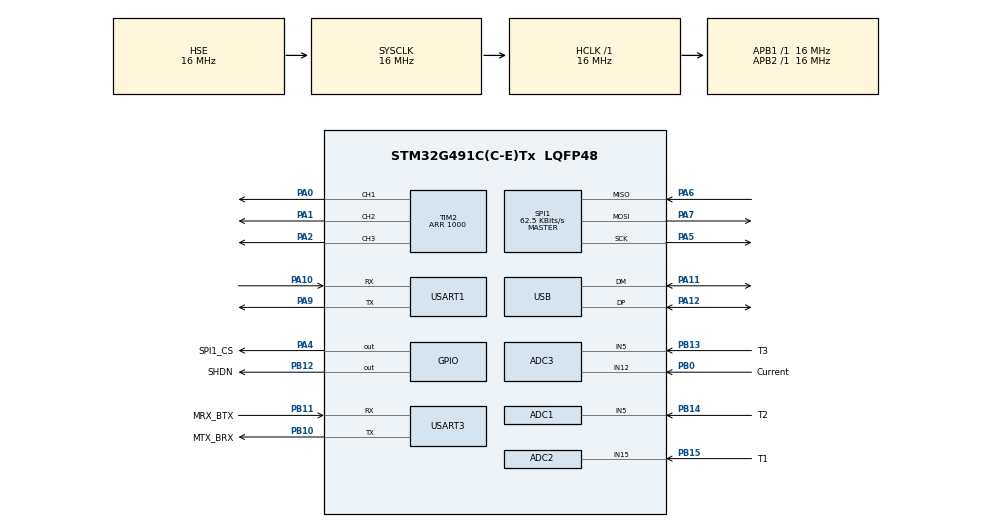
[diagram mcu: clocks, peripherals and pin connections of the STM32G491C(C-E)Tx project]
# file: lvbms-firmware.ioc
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ADC1.Channel-0\#ChannelRegularConversion=ADC_CHANNEL_5
ADC1.NbrOfConversionFlag=1
ADC1.OffsetNumber-0\#ChannelRegularConversion=ADC_OFFSET_NONE
ADC1.OversamplingMode=ENABLE
ADC1.Rank-0\#ChannelRegularConversion=1
ADC1.Ratio=ADC_OVERSAMPLING_RATIO_16
ADC1.RightBitShift=ADC_RIGHTBITSHIFT_4
ADC1.SamplingTime-0\#ChannelRegularConversion=ADC_SAMPLETIME_2CYCLES_5
ADC1.master=1
ADC2.Channel-0\#ChannelRegularConversion=ADC_CHANNEL_15
ADC2.NbrOfConversionFlag=1
ADC2.OffsetNumber-0\#ChannelRegularConversion=ADC_OFFSET_NONE
ADC2.OversamplingMode=ENABLE
ADC2.Rank-0\#ChannelRegularConversion=1
ADC2.Ratio=ADC_OVERSAMPLING_RATIO_16
ADC2.RightBitShift=ADC_RIGHTBITSHIFT_4
ADC2.SamplingTime-0\#ChannelRegularConversion=ADC_SAMPLETIME_2CYCLES_5
ADC3.Channel-0\#ChannelRegularConversion=ADC_CHANNEL_12
ADC3.Channel-3\#ChannelRegularConversion=ADC_CHANNEL_5
ADC3.DataAlign=ADC_DATAALIGN_RIGHT
ADC3.NbrOfConversion=2
ADC3.NbrOfConversionFlag=1
ADC3.OffsetNumber-3\#ChannelRegularConversion=ADC_OFFSET_NONE
ADC3.Overrun=ADC_OVR_DATA_PRESERVED
ADC3.OversamplingMode=ENABLE
ADC3.Rank-3\#ChannelRegularConversion=2
ADC3.Ratio=ADC_OVERSAMPLING_RATIO_16
ADC3.RightBitShift=ADC_RIGHTBITSHIFT_4
ADC3.SamplingTime-0\#ChannelRegularConversion=ADC_SAMPLETIME_47CYCLES_5
ADC3.SamplingTime-3\#ChannelRegularConversion=ADC_SAMPLETIME_47CYCLES_5
ADC3.master=1
FREERTOS.Tasks01=defaultTask,24,128,StartDefaultTask,Default,NULL,Dynamic,NULL,NULL
FREERTOS.configTOTAL_HEAP_SIZE=32768
Mcu.Family=STM32G4
Mcu.Name=STM32G491C(C-E)Tx
Mcu.Package=LQFP48
NVIC.PriorityGroup=NVIC_PRIORITYGROUP_4
NVIC.TIM20_UP_IRQn=true\:15\:0\:false\:false\:true\:false\:false\:true\:true
NVIC.TimeBase=TIM20_UP_IRQn
NVIC.TimeBaseIP=TIM20
NVIC.USB_LP_IRQn=true\:5\:0\:false\:false\:true\:true\:false\:true\:true
PA0.Signal=S_TIM2_CH1
PA1.Signal=S_TIM2_CH2
PA10.Mode=Asynchronous
PA10.Signal=USART1_RX
PA11.Mode=Device
PA11.Signal=USB_DM
PA12.Mode=Device
PA12.Signal=USB_DP
PA13.Mode=Trace_Asynchronous_SW
PA13.Signal=SYS_JTMS-SWDIO
PA14.Mode=Trace_Asynchronous_SW
PA14.Signal=SYS_JTCK-SWCLK
PA2.Signal=S_TIM2_CH3
PA4.GPIO_Label=SPI1_CS
PA4.PinState=GPIO_PIN_SET
PA4.Signal=GPIO_Output
PA5.Mode=Full_Duplex_Master
PA5.Signal=SPI1_SCK
PA6.Mode=Full_Duplex_Master
PA6.Signal=SPI1_MISO
PA7.Mode=Full_Duplex_Master
PA7.Signal=SPI1_MOSI
PA9.Mode=Asynchronous
PA9.Signal=USART1_TX
PB0.GPIO_Label=Current
PB0.GPIO_Pd=GPIO_NOPULL
PB0.Signal=SharedAnalog_PB0
PB10.GPIO_Label=MTX_BRX
PB10.Mode=Asynchronous
PB10.Signal=USART3_TX
PB11.GPIO_Label=MRX_BTX
PB11.Mode=Asynchronous
PB11.Signal=USART3_RX
PB12.GPIO_Label=SHDN
PB12.Signal=GPIO_Output
PB13.GPIO_Label=T3
PB13.GPIO_Mode=GPIO_MODE_ANALOG
PB13.GPIO_Pd=GPIO_NOPULL
PB13.Signal=SharedAnalog_PB13
PB14.GPIO_Label=T2
PB14.Signal=SharedAnalog_PB14
PB15.GPIO_Label=T1
PB15.Signal=SharedAnalog_PB15
PB3.Mode=Trace_Asynchronous_SW
PB3.Signal=SYS_JTDO-SWO
PF0-OSC_IN.Mode=HSE-External-Oscillator
PF0-OSC_IN.Signal=RCC_OSC_IN
PF1-OSC_OUT.Mode=HSE-External-Oscillator
PF1-OSC_OUT.Signal=RCC_OSC_OUT
ProjectManager.HeapSize=0x200
ProjectManager.StackSize=0x400
ProjectManager.TargetToolchain=Makefile
RCC.ADC12Freq_Value=16000000
RCC.ADC345Freq_Value=16000000
RCC.AHBFreq_Value=16000000
RCC.APB1Freq_Value=16000000
RCC.APB1TimFreq_Value=16000000
RCC.APB2Freq_Value=16000000
RCC.APB2TimFreq_Value=16000000
RCC.CK48CLockSelection=RCC_USBCLKSOURCE_PLL
RCC.CortexFreq_Value=16000000
RCC.EXTERNAL_CLOCK_VALUE=12288000
RCC.HCLKFreq_Value=16000000
RCC.HSE_VALUE=16000000
RCC.HSI48_VALUE=48000000
RCC.HSI_VALUE=16000000
RCC.LSE_VALUE=32768
RCC.PLLN=12
RCC.PLLQ=RCC_PLLQ_DIV4
RCC.PLLR=RCC_PLLR_DIV4
RCC.PLLSourceVirtual=RCC_PLLSOURCE_HSE
RCC.SYSCLKFreq_VALUE=16000000
RCC.SYSCLKSource=RCC_SYSCLKSOURCE_HSE
RCC.USBFreq_Value=48000000
RCC.VCOOutputFreq_Value=192000000
SH.S_TIM2_CH1.0=TIM2_CH1,PWM Generation1 CH1
SH.S_TIM2_CH2.0=TIM2_CH2,PWM Generation2 CH2
SH.S_TIM2_CH3.0=TIM2_CH3,PWM Generation3 CH3
SH.SharedAnalog_PB0.0=GPIO_Analog
SH.SharedAnalog_PB0.1=ADC3_IN12,IN12-Single-Ended
SH.SharedAnalog_PB13.0=GPIO_Analog
SH.SharedAnalog_PB13.1=ADC3_IN5,IN5-Single-Ended
SH.SharedAnalog_PB14.0=GPIO_Analog
SH.SharedAnalog_PB14.1=ADC1_IN5,IN5-Single-Ended
SH.SharedAnalog_PB15.0=GPIO_Analog
SH.SharedAnalog_PB15.1=ADC2_IN15,IN15-Single-Ended
SPI1.BaudRatePrescaler=SPI_BAUDRATEPRESCALER_256
SPI1.CLKPhase=SPI_PHASE_2EDGE
SPI1.CLKPolarity=SPI_POLARITY_HIGH
SPI1.CalculateBaudRate=62.5 KBits/s
SPI1.DataSize=SPI_DATASIZE_8BIT
SPI1.Direction=SPI_DIRECTION_2LINES
SPI1.Mode=SPI_MODE_MASTER
SPI1.VirtualType=VM_MASTER
TIM2.Channel-PWM\ Generation1\ CH1=TIM_CHANNEL_1
TIM2.Channel-PWM\ Generation2\ CH2=TIM_CHANNEL_2
TIM2.Channel-PWM\ Generation3\ CH3=TIM_CHANNEL_3
TIM2.OCFastMode_PWM-PWM\ Generation1\ CH1=TIM_OCFAST_ENABLE
TIM2.OCFastMode_PWM-PWM\ Generation2\ CH2=TIM_OCFAST_ENABLE
TIM2.OCFastMode_PWM-PWM\ Generation3\ CH3=TIM_OCFAST_ENABLE
TIM2.OCPolarity_1=TIM_OCPOLARITY_LOW
TIM2.OCPolarity_2=TIM_OCPOLARITY_LOW
TIM2.OCPolarity_3=TIM_OCPOLARITY_LOW
TIM2.PeriodNoDither=1000
USART1.VirtualMode-Asynchronous=VM_ASYNC
USART3.VirtualMode-Asynchronous=VM_ASYNC
USB_DEVICE.CLASS_NAME_FS=CDC
USB_DEVICE.VirtualMode=Cdc
USB_DEVICE.VirtualModeFS=Cdc_FS
VP_FREERTOS_VS_CMSIS_V2.Mode=CMSIS_V2
VP_SYS_VS_DBSignals.Mode=DisableDeadBatterySignals
VP_SYS_VS_tim20.Mode=TIM20
VP_USB_DEVICE_VS_USB_DEVICE_CDC_FS.Mode=CDC_FS
board=custom

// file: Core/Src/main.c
/* USER CODE BEGIN Header */
/**
 ******************************************************************************
 * @file           : main.c
 * @brief          : Main program body
 ******************************************************************************
 * @attention
 *
 * Copyright (c) 2025 STMicroelectronics.
 * All rights reserved.
 *
 * This software is licensed under terms that can be found in the LICENSE file
 * in the root directory of this software component.
 * If no LICENSE file comes with this software, it is provided AS-IS.
 *
 ******************************************************************************
 */
/* USER CODE END Header */
#include "main.h"
#include "cmsis_os.h"
#include "adc.h"
#include "spi.h"
#include "tim.h"
#include "usart.h"
#include "usb_device.h"
#include "gpio.h"

/* USER CODE BEGIN Includes */
#include "usbd_cdc_if.h"
#include <string.h>
/* USER CODE END Includes */

void SystemClock_Config(void);
void MX_FREERTOS_Init(void);

/* USER CODE BEGIN 0 */
int __io_putchar(int ch) {
  uint8_t c = (uint8_t) ch;
  CDC_Transmit_FS(&c, 1);
  osDelay(1); // Small delay to ensure data is sent before next character
  return ch;
}
/* USER CODE END 0 */

int main(void)
{

  /* MCU Configuration--------------------------------------------------------*/

  /* Reset of all peripherals, Initializes the Flash interface and the Systick. */
  HAL_Init();

  /* Configure the system clock */
  SystemClock_Config();

  /* Initialize all configured peripherals */
  MX_GPIO_Init();
  MX_TIM2_Init();
  MX_USART3_UART_Init();
  MX_USART1_UART_Init();
  MX_ADC3_Init();
  MX_SPI1_Init();
  MX_ADC1_Init();
  MX_ADC2_Init();

  /* Init scheduler */
  osKernelInitialize();  /* Call init function for freertos objects (in cmsis_os2.c) */
  MX_FREERTOS_Init();

  /* Start scheduler */
  osKernelStart();

  /* We should never get here as control is now taken by the scheduler */

  /* Infinite loop */
    while (1) {

    }
}

void SystemClock_Config(void)
{
  RCC_OscInitTypeDef RCC_OscInitStruct = {0};
  RCC_ClkInitTypeDef RCC_ClkInitStruct = {0};

  /** Configure the main internal regulator output voltage
  */
  HAL_PWREx_ControlVoltageScaling(PWR_REGULATOR_VOLTAGE_SCALE1);

  /** Initializes the RCC Oscillators according to the specified parameters
  * in the RCC_OscInitTypeDef structure.
  */
  RCC_OscInitStruct.OscillatorType = RCC_OSCILLATORTYPE_HSE;
  RCC_OscInitStruct.HSEState = RCC_HSE_ON;
  RCC_OscInitStruct.PLL.PLLState = RCC_PLL_ON;
  RCC_OscInitStruct.PLL.PLLSource = RCC_PLLSOURCE_HSE;
  RCC_OscInitStruct.PLL.PLLM = RCC_PLLM_DIV1;
  RCC_OscInitStruct.PLL.PLLN = 12;
  RCC_OscInitStruct.PLL.PLLP = RCC_PLLP_DIV2;
  RCC_OscInitStruct.PLL.PLLQ = RCC_PLLQ_DIV4;
  RCC_OscInitStruct.PLL.PLLR = RCC_PLLR_DIV4;
  if (HAL_RCC_OscConfig(&RCC_OscInitStruct) != HAL_OK)
  {
    Error_Handler();
  }

  /** Initializes the CPU, AHB and APB buses clocks
  */
  RCC_ClkInitStruct.ClockType = RCC_CLOCKTYPE_HCLK|RCC_CLOCKTYPE_SYSCLK
                              |RCC_CLOCKTYPE_PCLK1|RCC_CLOCKTYPE_PCLK2;
  RCC_ClkInitStruct.SYSCLKSource = RCC_SYSCLKSOURCE_HSE;
  RCC_ClkInitStruct.AHBCLKDivider = RCC_SYSCLK_DIV1;
  RCC_ClkInitStruct.APB1CLKDivider = RCC_HCLK_DIV1;
  RCC_ClkInitStruct.APB2CLKDivider = RCC_HCLK_DIV1;

  if (HAL_RCC_ClockConfig(&RCC_ClkInitStruct, FLASH_LATENCY_0) != HAL_OK)
  {
    Error_Handler();
  }
}

void HAL_TIM_PeriodElapsedCallback(TIM_HandleTypeDef *htim)
{
  if (htim->Instance == TIM20)
  {
    HAL_IncTick();
  }
}

void Error_Handler(void)
{
  /* USER CODE BEGIN Error_Handler_Debug */
    /* User can add his own implementation to report the HAL error return state
     */
    __disable_irq();
    while (1) {
        // HAL_TIM_PWM_DeInit(&htim2);
        // HAL_GPIO_TogglePin(GPIOA, GPIO_PIN_0);
    }
  /* USER CODE END Error_Handler_Debug */
}
#ifdef USE_FULL_ASSERT
/**
  * @brief  Reports the name of the source file and the source line number
  *         where the assert_param error has occurred.
  * @param  file: pointer to the source file name
  * @param  line: assert_param error line source number
  * @retval None
  */
void assert_failed(uint8_t *file, uint32_t line)
{
  /* USER CODE BEGIN 6 */
    /* User can add his own implementation to report the file name and line
       number, ex: printf("Wrong parameters value: file %s on line %d\r\n",
       file, line) */
  /* USER CODE END 6 */
}
#endif /* USE_FULL_ASSERT */

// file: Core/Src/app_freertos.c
/* USER CODE BEGIN Header */
/**
 ******************************************************************************
 * File Name          : app_freertos.c
 * Description        : Code for freertos applications
 ******************************************************************************
 * @attention
 *
 * Copyright (c) 2025 STMicroelectronics.
 * All rights reserved.
 *
 * This software is licensed under terms that can be found in the LICENSE file
 * in the root directory of this software component.
 * If no LICENSE file comes with this software, it is provided AS-IS.
 *
 ******************************************************************************
 */
/* USER CODE END Header */

#include "FreeRTOS.h"
#include "task.h"
#include "main.h"
#include "cmsis_os.h"

#include "usb_device.h"

/* USER CODE BEGIN Includes */
#include "longhorn/rtos/led.h"
#include "longhorn/rtos/logger.h"
#include "longhorn/rtos/usb.h"
#include "longhorn/usb_base.h"
#include "longhorn/rtos/dfu.h"
#include "tim.h"
#include "usbd_cdc_if.h"
#include "usart.h"
#include "adc.h"
#include "spi.h"
#include "gpio.h"
#include "adBms6830Data.h"
#include "adBms6830GenericType.h"
#include "adBms6830ParseCreate.h"
#include "adBms_Application.h"
#include "serialPrintResult.h"
#include "lvbms_bluetooth.h"
#include "lvbms_temperature_current.h"
#include "lvbms_fsm.h"
/* USER CODE END Includes */

/* USER CODE BEGIN PD */
#define TOTAL_IC 1
/* USER CODE END PD */

/* USER CODE BEGIN Variables */
static cell_asic IC[TOTAL_IC];

osThreadId_t fsmTaskHandle;
const osThreadAttr_t fsmTask_attributes = {
  .name = "fsmTask",
  .priority = (osPriority_t) osPriorityHigh,
  .stack_size = 1024 * 4
};
/* USER CODE END Variables */
/* Definitions for defaultTask */
osThreadId_t defaultTaskHandle;
const osThreadAttr_t defaultTask_attributes = {
  .name = "defaultTask",
  .priority = (osPriority_t) osPriorityNormal,
  .stack_size = 1024 * 4
};

/* USER CODE BEGIN FunctionPrototypes */
void StartFSMTask(void *argument);
/* USER CODE END FunctionPrototypes */

void StartDefaultTask(void *argument);

void MX_FREERTOS_Init(void); /* (MISRA C 2004 rule 8.1) */

void MX_FREERTOS_Init(void) {

  /* Create the thread(s) */
  /* creation of defaultTask */
  defaultTaskHandle = osThreadNew(StartDefaultTask, NULL, &defaultTask_attributes);

  /* USER CODE BEGIN RTOS_THREADS */
    /* add threads, ... */
    fsmTaskHandle = osThreadNew(StartFSMTask, NULL, &fsmTask_attributes);

    rainbow_led_t led = {
        .ccr1 = &TIM2->CCR1,
        .ccr2 = &TIM2->CCR2,
        .ccr3 = &TIM2->CCR3,
        .channel1 = TIM_CHANNEL_1,
        .channel2 = TIM_CHANNEL_2,
        .channel3 = TIM_CHANNEL_3,
        .pwm_start = (HAL_PWM_Start_Fn)HAL_TIM_PWM_Start,
        .timer_handle = &htim2,
    };

    led_init(&led);
    led_start_thread();
  /* USER CODE END RTOS_THREADS */

}

void StartDefaultTask(void *argument)
{
  /* init code for USB_Device */
  MX_USB_Device_Init();
  /* USER CODE BEGIN StartDefaultTask */

  if (init_logging(CDC_Transmit_FS) == -1) {
    // If USB logging fails, stop LED thread so we notice
    // osThreadTerminate(ledHandle);
  }

  RN4781_Init(&huart3);
  char buf[200];

  const char *state_names[] = {
        "INIT",
        "IDLE",
        "MEASURING",
        "BALANCING",
        "FAULT",
        "SHUTDOWN"
    };

    const char *fault_names[] = {
        "NONE",
        "OV",
        "UV",
        "",
        "OT",
        "",
        "",
        "",
        "OC"
    };

  /* Infinite loop */

  for (;;) {
    snprintf(buf, sizeof(buf),
            "State: %s Faults: 0x%02lX\r\n"
            "C1:%.2f C2:%.2f C3:%.2f C4:%.2f\r\n"
            "C5:%.2f C6:%.2f C7:%.2f\r\n"
            "T1:%.1f T2:%.1f T3:%.1f\r\n"
            "Current:%.2f\r\n",
            state_names[bms_get_state()], bms_get_faults(),
            bms_get_cell_voltage(0), bms_get_cell_voltage(1),
            bms_get_cell_voltage(2), bms_get_cell_voltage(3),
            bms_get_cell_voltage(4), bms_get_cell_voltage(5),
            bms_get_cell_voltage(6),
            bms_get_temperature(0), bms_get_temperature(1),
            bms_get_temperature(2),
            bms_get_current()
    );
    BLE_Send(buf);
    osDelay(2000);
  }
  /* USER CODE END StartDefaultTask */
}

/* USER CODE BEGIN Application */
void StartFSMTask(void *argument) {
  /* USER CODE BEGIN StartFSMTask */
  bms_task_init(IC, TOTAL_IC);
  TickType_t xLastWakeTime = xTaskGetTickCount();

  for(;;)
  {
    //printf("State: %d  Faults: 0x%02lX\r\n", bms_get_state(), bms_get_faults());
    bms_fsm_run();
    vTaskDelayUntil(&xLastWakeTime, pdMS_TO_TICKS(BMS_TASK_PERIOD_MS));
  }
}
/* USER CODE END Application */
